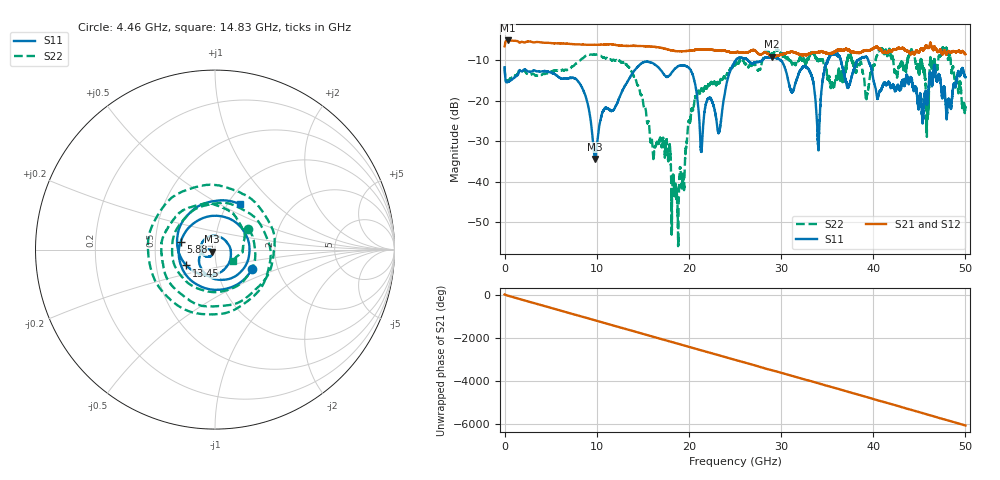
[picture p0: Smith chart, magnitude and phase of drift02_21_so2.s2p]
!Created with skrf (http://scikit-rf.org).
# Hz S RI R 50.0
!freq ReS11 ImS11 ReS21 ImS21 ReS12 ImS12 ReS22 ImS22
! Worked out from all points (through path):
!   10001 points, 300 kHz to 50 GHz, reference 50 ohm
!   highest |S21| = -5.04 dB at 325.3 MHz (marker M1); lowest = -9.0 dB at 29.05 GHz (marker M2)
!   group delay of S21, straight-line fit = 336 ps
!   lowest |S11| = -34.4 dB at 9.84 GHz (marker M3), VSWR 1.04, Z = 48.5 - j1.06 ohm
!   |S11| at or under -10 dB: start of sweep to 25.07 GHz; 29.98 GHz to 35.07 GHz (5.09 GHz wide, 15.7 % of centre); 39.47 GHz to end of sweep (the widest 3 of 8)
!   |S22| runs from -56.0 to -6.7 dB; largest |S21 - S12| = 0.021
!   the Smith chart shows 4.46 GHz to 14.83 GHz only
!   S11 on the Smith chart (normalised r, x): 4.46 GHz: 1.47, -0.34; 5.88 GHz: 0.68, +0.06; 13.45 GHz: 0.71, -0.13; 14.83 GHz: 1.14, +0.63
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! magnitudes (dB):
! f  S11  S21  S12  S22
! 300 kHz  -11.7  -6.5  -6.4  -11.6
! 325.3 MHz  -15.4  -5.0  -5.0  -15.0
! 4.46 GHz  -12.6  -5.6  -5.6  -13.3
! 5.88 GHz  -14.1  -5.7  -5.7  -12.5
! 8.335 GHz  -16.4  -6.1  -6.0  -9.6
! 9.84 GHz  -34.4  -6.1  -6.1  -8.6
! 13.45 GHz  -14.8  -6.4  -6.4  -11.6
! 14.83 GHz  -10.8  -6.4  -6.4  -18.6
! 16.67 GHz  -11.6  -6.7  -6.7  -30.5
! 18.68 GHz  -11.7  -7.7  -7.7  -44.4
! 20.37 GHz  -13.3  -7.5  -7.5  -22.0
! 21.37 GHz  -32.5  -7.3  -7.3  -17.1
! 23.31 GHz  -27.6  -7.5  -7.6  -15.6
! 25 GHz  -10.3  -8.0  -8.0  -11.1
! 29.05 GHz  -9.1  -9.0  -9.0  -8.2
! 33.34 GHz  -13.9  -8.1  -8.1  -8.1
! 34.02 GHz  -31.0  -7.9  -7.9  -10.2
! 35.52 GHz  -8.5  -8.2  -8.1  -15.6
! 41.67 GHz  -15.3  -7.7  -7.8  -7.5
! 45.85 GHz  -20.6  -6.7  -6.7  -23.4
! 47.77 GHz  -17.6  -7.6  -7.6  -7.5
! 50 GHz  -14.1  -8.4  -8.4  -20.8
